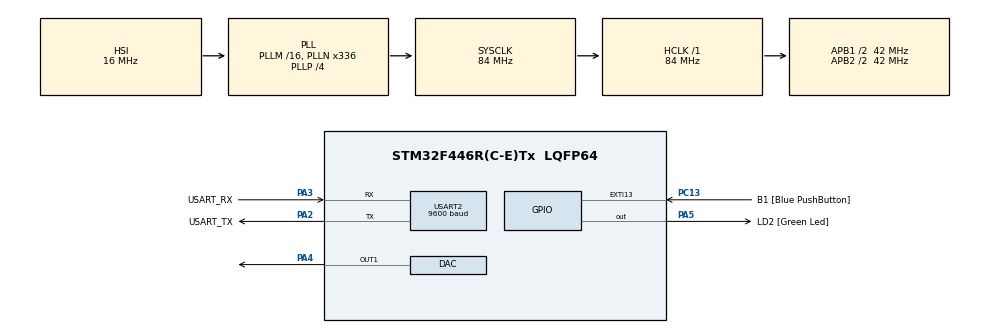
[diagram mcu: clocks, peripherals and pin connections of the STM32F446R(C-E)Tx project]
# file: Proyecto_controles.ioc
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DAC.DAC_Trigger=DAC_TRIGGER_T6_TRGO
Dma.DAC1.0.Direction=DMA_MEMORY_TO_PERIPH
Dma.DAC1.0.FIFOMode=DMA_FIFOMODE_DISABLE
Dma.DAC1.0.Instance=DMA1_Stream5
Dma.DAC1.0.MemDataAlignment=DMA_MDATAALIGN_WORD
Dma.DAC1.0.MemInc=DMA_MINC_ENABLE
Dma.DAC1.0.Mode=DMA_CIRCULAR
Dma.DAC1.0.PeriphDataAlignment=DMA_PDATAALIGN_WORD
Dma.DAC1.0.PeriphInc=DMA_PINC_DISABLE
Dma.DAC1.0.Priority=DMA_PRIORITY_LOW
Dma.Request0=DAC1
Mcu.Family=STM32F4
Mcu.Name=STM32F446R(C-E)Tx
Mcu.Package=LQFP64
NVIC.DMA1_Stream5_IRQn=true\:0\:0\:false\:false\:true\:false\:true\:true
NVIC.PriorityGroup=NVIC_PRIORITYGROUP_0
NVIC.USART2_IRQn=true\:0\:0\:false\:false\:true\:true\:true\:true
PA13.GPIO_Label=TMS
PA13.Mode=Serial_Wire
PA13.Signal=SYS_JTMS-SWDIO
PA14.GPIO_Label=TCK
PA14.Mode=Serial_Wire
PA14.Signal=SYS_JTCK-SWCLK
PA2.GPIO_Label=USART_TX
PA2.Mode=Asynchronous
PA2.Signal=USART2_TX
PA3.GPIO_Label=USART_RX
PA3.Mode=Asynchronous
PA3.Signal=USART2_RX
PA4.Signal=COMP_DAC1_group
PA5.GPIO_Label=LD2 [Green Led]
PA5.Signal=GPIO_Output
PB3.GPIO_Label=SWO
PB3.Signal=SYS_JTDO-SWO
PC13.GPIO_Label=B1 [Blue PushButton]
PC13.GPIO_ModeDefaultEXTI=GPIO_MODE_IT_FALLING
PC13.Signal=GPXTI13
PC14-OSC32_IN.Mode=LSE-External-Oscillator
PC14-OSC32_IN.Signal=RCC_OSC32_IN
PC15-OSC32_OUT.Mode=LSE-External-Oscillator
PC15-OSC32_OUT.Signal=RCC_OSC32_OUT
PH0-OSC_IN.Mode=HSE-External-Oscillator
PH0-OSC_IN.Signal=RCC_OSC_IN
PH1-OSC_OUT.Mode=HSE-External-Oscillator
PH1-OSC_OUT.Signal=RCC_OSC_OUT
ProjectManager.HeapSize=0x200
ProjectManager.StackSize=0x400
ProjectManager.TargetToolchain=STM32CubeIDE
RCC.48MHZClocksFreq_Value=84000000
RCC.AHBFreq_Value=84000000
RCC.APB1CLKDivider=RCC_HCLK_DIV2
RCC.APB1Freq_Value=42000000
RCC.APB1TimFreq_Value=84000000
RCC.APB2CLKDivider=RCC_HCLK_DIV2
RCC.APB2Freq_Value=42000000
RCC.APB2TimFreq_Value=84000000
RCC.CortexFreq_Value=84000000
RCC.FLatency-AdvancedSettings=FLASH_LATENCY_2
RCC.HCLKFreq_Value=84000000
RCC.HSE_VALUE=8000000
RCC.HSI_VALUE=16000000
RCC.PLLN=336
RCC.PLLP=RCC_PLLP_DIV4
RCC.SYSCLKFreq_VALUE=84000000
RCC.SYSCLKSource=RCC_SYSCLKSOURCE_PLLCLK
RCC.USBFreq_Value=168000000
RCC.VCOOutputFreq_Value=336000000
SH.COMP_DAC1_group.0=DAC_OUT1,DAC_OUT1
TIM6.Period=99
TIM6.Prescaler=1
TIM6.TIM_MasterOutputTrigger=TIM_TRGO_UPDATE
USART2.BaudRate=9600
USART2.VirtualMode=VM_ASYNC
VP_TIM6_VS_ClockSourceINT.Mode=Enable_Timer
board=NUCLEO-F446RE

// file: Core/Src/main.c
/* USER CODE BEGIN Header */
/**
  ******************************************************************************
  * @file           : main.c
  * @brief          : Main program body
  ******************************************************************************
  * @attention
  *
  * Copyright (c) 2026 STMicroelectronics.
  * All rights reserved.
  *
  * This software is licensed under terms that can be found in the LICENSE file
  * in the root directory of this software component.
  * If no LICENSE file comes with this software, it is provided AS-IS.
  *
  ******************************************************************************
  */
/* USER CODE END Header */
#include "main.h"

/* USER CODE BEGIN Includes */
#include <stdio.h>
#include <string.h>
/* USER CODE END Includes */

/* USER CODE BEGIN PD */
//Notas con ARR
#define ARR_Do0   20066
#define ARR_DoSReb0 18940
#define ARR_Re0   17877
#define ARR_ReSMib0 16873
#define ARR_Mi0   15926
#define ARR_Fa0   15032
#define ARR_FaSSolb0 14188
#define ARR_Sol0  13392
#define ARR_SolSLab0 12640
#define ARR_La0   11931
#define ARR_LaSSib0 11261
#define ARR_Si0   10629

#define ARR_Do1   10032
#define ARR_DoSReb1 9469
#define ARR_Re1   8938
#define ARR_ReSMib1 8436
#define ARR_Mi1   7963
#define ARR_Fa1   7516
#define ARR_FaSSolb1 7094
#define ARR_Sol1  6695
#define ARR_SolSLab1 6320
#define ARR_La1   5965
#define ARR_LaSSib1 5630
#define ARR_Si1   5314

#define ARR_Do2   5016
#define ARR_DoSReb2 4734
#define ARR_Re2   4468
#define ARR_ReSMib2 4218
#define ARR_Mi2   3981
#define ARR_Fa2   3757
#define ARR_FaSSolb2 3546
#define ARR_Sol2  3347
#define ARR_SolSLab2 3159
#define ARR_La2   2982
#define ARR_LaSSib2 2815
#define ARR_Si2   2657

#define ARR_Do3   5016
#define ARR_DoSReb3 4734
#define ARR_Re3   4468
#define ARR_ReSMib3 4218
#define ARR_Mi3   3981
#define ARR_Fa3   3757
#define ARR_FaSSolb3 3546
#define ARR_Sol3  3347
#define ARR_SolSLab3 3159
#define ARR_La3   2982
#define ARR_LaSSib3 2815
#define ARR_Si3   2657

#define ARR_Do4   2507
#define ARR_DoSReb4 2367
#define ARR_Re4   2234
#define ARR_ReSMib4 2108
#define ARR_Mi4   1990
#define ARR_Fa4   1878
#define ARR_FaSSolb4 1773
#define ARR_Sol4  1673
#define ARR_SolSLab4 1579
#define ARR_La4   1490
#define ARR_LaSSib4 1407
#define ARR_Si4   1328

#define ARR_Do5   1253
#define ARR_DoSReb5 1183
#define ARR_Re5   1116
#define ARR_ReSMib5 1054
#define ARR_Mi5   994
#define ARR_Fa5   939
#define ARR_FaSSolb5 886
#define ARR_Sol5  836
#define ARR_SolSLab5 789
#define ARR_La5   745
#define ARR_LaSSib5 703
#define ARR_Si5   663

#define ARR_Do6   313
#define ARR_DoSReb6 295
#define ARR_Re6   278
#define ARR_ReSMib6 263
#define ARR_Mi6   248
#define ARR_Fa6   234
#define ARR_FaSSolb6 221
#define ARR_Sol6  208
#define ARR_SolSLab6 197
#define ARR_La6   185
#define ARR_LaSSib6 175
#define ARR_Si6   165

#define ARR_Do7   156
#define ARR_DoSReb7 147
#define ARR_Re7   139
#define ARR_ReSMib7 131
#define ARR_Mi7   123
#define ARR_Fa7   116
#define ARR_FaSSolb7 110
#define ARR_Sol7  104
#define ARR_SolSLab7 98
#define ARR_La7   92
#define ARR_LaSSib7 87
#define ARR_Si7   82

#define ARR_Do8   77
#define ARR_DoSReb8 73
#define ARR_Re8   69
#define ARR_ReSMib8 65
#define ARR_Mi8   61
#define ARR_Fa8   58
#define ARR_FaSSolb8 54
#define ARR_Sol8  51
#define ARR_SolSLab8 48
#define ARR_La8   46
#define ARR_LaSSib8 43
#define ARR_Si8   41

#define ARR_Do9   38
#define ARR_DoSReb9 36
#define ARR_Re9   34
#define ARR_ReSMib9 32
#define ARR_Mi9   30
#define ARR_Fa9   28
#define ARR_FaSSolb9 27
#define ARR_Sol9  25
#define ARR_SolSLab9 24
#define ARR_La9   22
#define ARR_LaSSib9 21
#define ARR_Si9   20
/* USER CODE END PD */

DAC_HandleTypeDef hdac;
DMA_HandleTypeDef hdma_dac1;

TIM_HandleTypeDef htim6;

UART_HandleTypeDef huart2;

/* USER CODE BEGIN PV */
uint8_t rxData;
volatile uint8_t i = 0;
volatile uint8_t dataReady = 0;
char buffer[50];
/* USER CODE END PV */

void SystemClock_Config(void);
static void MX_GPIO_Init(void);
static void MX_DMA_Init(void);
static void MX_USART2_UART_Init(void);
static void MX_DAC_Init(void);
static void MX_TIM6_Init(void);

int main(void)
{

  /* MCU Configuration--------------------------------------------------------*/

  /* Reset of all peripherals, Initializes the Flash interface and the Systick. */
  HAL_Init();

  /* Configure the system clock */
  SystemClock_Config();

  /* Initialize all configured peripherals */
  MX_GPIO_Init();
  MX_DMA_Init();
  MX_USART2_UART_Init();
  MX_DAC_Init();
  MX_TIM6_Init();
  /* USER CODE BEGIN 2 */
  HAL_UART_Receive_IT(&huart2, &rxData, 1);	//Inicia la lectura del UART

  /* USER CODE END 2 */

  /* Infinite loop */
  while (1)
  {

    /* USER CODE BEGIN 3 */
	  if (dataReady){
		  HAL_UART_Transmit(&huart2, (uint8_t*)buffer, strlen(buffer), 100);
		  dataReady = 0;
	  }

  }
  /* USER CODE END 3 */
}

void SystemClock_Config(void)
{
  RCC_OscInitTypeDef RCC_OscInitStruct = {0};
  RCC_ClkInitTypeDef RCC_ClkInitStruct = {0};

  /** Configure the main internal regulator output voltage
  */
  __HAL_RCC_PWR_CLK_ENABLE();
  __HAL_PWR_VOLTAGESCALING_CONFIG(PWR_REGULATOR_VOLTAGE_SCALE3);

  /** Initializes the RCC Oscillators according to the specified parameters
  * in the RCC_OscInitTypeDef structure.
  */
  RCC_OscInitStruct.OscillatorType = RCC_OSCILLATORTYPE_HSI;
  RCC_OscInitStruct.HSIState = RCC_HSI_ON;
  RCC_OscInitStruct.HSICalibrationValue = RCC_HSICALIBRATION_DEFAULT;
  RCC_OscInitStruct.PLL.PLLState = RCC_PLL_ON;
  RCC_OscInitStruct.PLL.PLLSource = RCC_PLLSOURCE_HSI;
  RCC_OscInitStruct.PLL.PLLM = 16;
  RCC_OscInitStruct.PLL.PLLN = 336;
  RCC_OscInitStruct.PLL.PLLP = RCC_PLLP_DIV4;
  RCC_OscInitStruct.PLL.PLLQ = 2;
  RCC_OscInitStruct.PLL.PLLR = 2;
  if (HAL_RCC_OscConfig(&RCC_OscInitStruct) != HAL_OK)
  {
    Error_Handler();
  }

  /** Initializes the CPU, AHB and APB buses clocks
  */
  RCC_ClkInitStruct.ClockType = RCC_CLOCKTYPE_HCLK|RCC_CLOCKTYPE_SYSCLK
                              |RCC_CLOCKTYPE_PCLK1|RCC_CLOCKTYPE_PCLK2;
  RCC_ClkInitStruct.SYSCLKSource = RCC_SYSCLKSOURCE_PLLCLK;
  RCC_ClkInitStruct.AHBCLKDivider = RCC_SYSCLK_DIV1;
  RCC_ClkInitStruct.APB1CLKDivider = RCC_HCLK_DIV2;
  RCC_ClkInitStruct.APB2CLKDivider = RCC_HCLK_DIV2;

  if (HAL_RCC_ClockConfig(&RCC_ClkInitStruct, FLASH_LATENCY_2) != HAL_OK)
  {
    Error_Handler();
  }
}

static void MX_DAC_Init(void)
{

  DAC_ChannelConfTypeDef sConfig = {0};

  /** DAC Initialization
  */
  hdac.Instance = DAC;
  if (HAL_DAC_Init(&hdac) != HAL_OK)
  {
    Error_Handler();
  }

  /** DAC channel OUT1 config
  */
  sConfig.DAC_Trigger = DAC_TRIGGER_T6_TRGO;
  sConfig.DAC_OutputBuffer = DAC_OUTPUTBUFFER_ENABLE;
  if (HAL_DAC_ConfigChannel(&hdac, &sConfig, DAC_CHANNEL_1) != HAL_OK)
  {
    Error_Handler();
  }

}

static void MX_TIM6_Init(void)
{

  TIM_MasterConfigTypeDef sMasterConfig = {0};

  htim6.Instance = TIM6;
  htim6.Init.Prescaler = 1;
  htim6.Init.CounterMode = TIM_COUNTERMODE_UP;
  htim6.Init.Period = 99;
  htim6.Init.AutoReloadPreload = TIM_AUTORELOAD_PRELOAD_DISABLE;
  if (HAL_TIM_Base_Init(&htim6) != HAL_OK)
  {
    Error_Handler();
  }
  sMasterConfig.MasterOutputTrigger = TIM_TRGO_UPDATE;
  sMasterConfig.MasterSlaveMode = TIM_MASTERSLAVEMODE_DISABLE;
  if (HAL_TIMEx_MasterConfigSynchronization(&htim6, &sMasterConfig) != HAL_OK)
  {
    Error_Handler();
  }

}

static void MX_USART2_UART_Init(void)
{

  huart2.Instance = USART2;
  huart2.Init.BaudRate = 9600;
  huart2.Init.WordLength = UART_WORDLENGTH_8B;
  huart2.Init.StopBits = UART_STOPBITS_1;
  huart2.Init.Parity = UART_PARITY_NONE;
  huart2.Init.Mode = UART_MODE_TX_RX;
  huart2.Init.HwFlowCtl = UART_HWCONTROL_NONE;
  huart2.Init.OverSampling = UART_OVERSAMPLING_16;
  if (HAL_UART_Init(&huart2) != HAL_OK)
  {
    Error_Handler();
  }

}

static void MX_DMA_Init(void)
{

  /* DMA controller clock enable */
  __HAL_RCC_DMA1_CLK_ENABLE();

  /* DMA interrupt init */
  /* DMA1_Stream5_IRQn interrupt configuration */
  HAL_NVIC_SetPriority(DMA1_Stream5_IRQn, 0, 0);
  HAL_NVIC_EnableIRQ(DMA1_Stream5_IRQn);

}

static void MX_GPIO_Init(void)
{
  GPIO_InitTypeDef GPIO_InitStruct = {0};

  /* GPIO Ports Clock Enable */
  __HAL_RCC_GPIOC_CLK_ENABLE();
  __HAL_RCC_GPIOH_CLK_ENABLE();
  __HAL_RCC_GPIOA_CLK_ENABLE();
  __HAL_RCC_GPIOB_CLK_ENABLE();

  /*Configure GPIO pin Output Level */
  HAL_GPIO_WritePin(LD2_GPIO_Port, LD2_Pin, GPIO_PIN_RESET);

  /*Configure GPIO pin : B1_Pin */
  GPIO_InitStruct.Pin = B1_Pin;
  GPIO_InitStruct.Mode = GPIO_MODE_IT_FALLING;
  GPIO_InitStruct.Pull = GPIO_NOPULL;
  HAL_GPIO_Init(B1_GPIO_Port, &GPIO_InitStruct);

  /*Configure GPIO pin : LD2_Pin */
  GPIO_InitStruct.Pin = LD2_Pin;
  GPIO_InitStruct.Mode = GPIO_MODE_OUTPUT_PP;
  GPIO_InitStruct.Pull = GPIO_NOPULL;
  GPIO_InitStruct.Speed = GPIO_SPEED_FREQ_LOW;
  HAL_GPIO_Init(LD2_GPIO_Port, &GPIO_InitStruct);

}

/* USER CODE BEGIN 4 */
void HAL_UART_RxCpltCallback(UART_HandleTypeDef *huart)
{
    if (huart->Instance == USART2)
    {
        buffer[i++] = rxData;

        // detectar fin de mensaje
        if(rxData == '\n' || i >= 49)
        {
            buffer[i] = '\0';  // terminar string
            dataReady = 1;
            i = 0;
        }

        HAL_UART_Receive_IT(&huart2, &rxData, 1);
    }
}
/* USER CODE END 4 */

void Error_Handler(void)
{
  __disable_irq();
  while (1)
  {
  }
}
